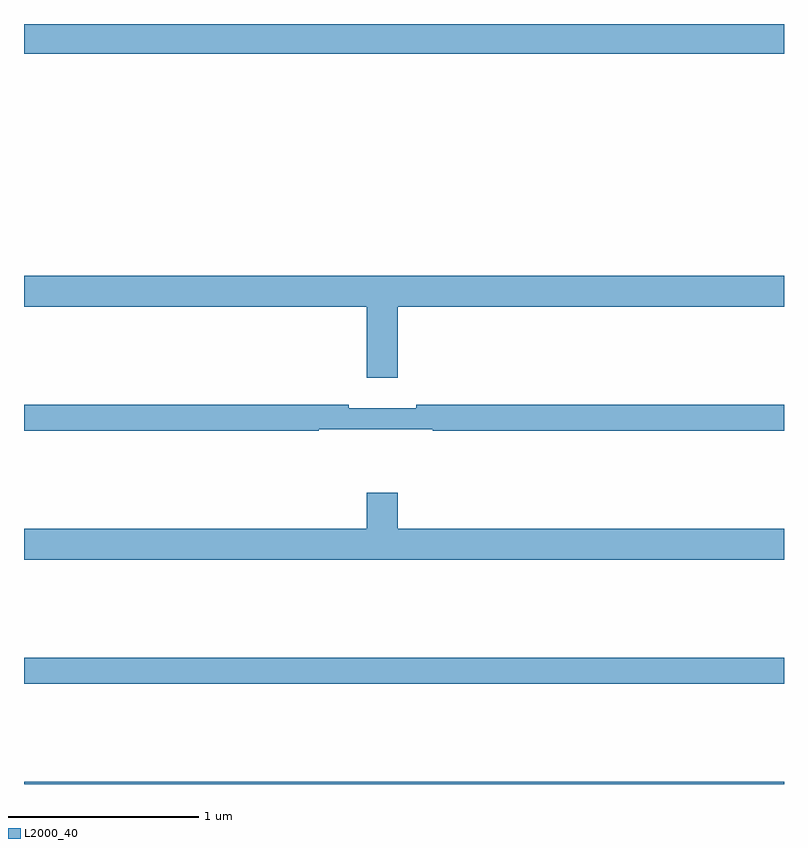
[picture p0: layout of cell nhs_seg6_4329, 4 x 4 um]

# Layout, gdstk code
import gdstk
lib = gdstk.Library(unit=1e-6, precision=1e-09)
def R(c, l, rs):  # rectangles x0, y0, x1, y1
    for r in rs: c.add(gdstk.rectangle(r[:2], r[2:], *l))
def P(c, l, *ps):  # polygons
    for p in ps: c.add(gdstk.Polygon(p, *l))
L2000_40 = (2000, 40)

nhs_seg6_4329 = lib.new_cell('nhs_seg6_4329')
R(nhs_seg6_4329, L2000_40, [(367,935.5,371,935.512), (367,936.028,371,936.164), (367,939.344,371,939.5)])
P(nhs_seg6_4329, L2000_40, [(368.968,938.012),(371,938.012),(371,938.176),(367,938.176),(367,938.012),(368.804,938.012),(368.804,937.638),(368.968,937.638)],
  [(368.552,937.368),(369.152,937.368),(369.152,937.36),(371,937.36),(371,937.496),(369.064,937.496),(369.064,937.477),(368.708,937.477),(368.708,937.496),(367,937.496),(367,937.36),(368.552,937.36)],
  [(371,936.844),(368.968,936.844),(368.968,937.033),(368.804,937.033),(368.804,936.844),(367,936.844),(367,936.68),(371,936.68)])

lib.write_gds('nhs_seg6_4329.gds')
